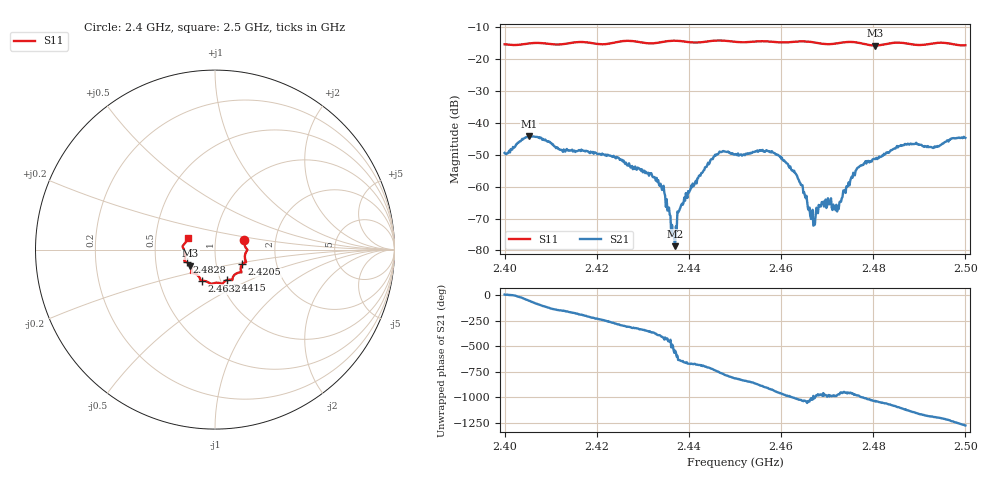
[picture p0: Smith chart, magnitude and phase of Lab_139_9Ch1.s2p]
# Hz S RI R 50
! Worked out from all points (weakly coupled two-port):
!   601 points, 2.4 GHz to 2.5 GHz, reference 50 ohm
!   highest |S21| = -44.20 dB at 2.4053 GHz (marker M1); lowest = -78.7 dB at 2.437 GHz (marker M2)
!   lowest |S11| = -15.7 dB at 2.4803 GHz (marker M3), VSWR 1.39, Z = 37.3 - j6.85 ohm
!   |S11| at or under -10 dB: start of sweep to end of sweep
!   S12 and S22 are empty: the file has one direction only
!   S11 on the Smith chart (normalised r, x): 2.4 GHz: 1.38, +0.15; 2.4205 GHz: 1.34, -0.23; 2.4415 GHz: 1.07, -0.38; 2.4632 GHz: 0.82, -0.29; 2.4828 GHz: 0.72, -0.10; 2.5 GHz: 0.73, +0.10
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2.4e9  0.1637 0.0517  0.00336 0.000436  0 0  0 0
2.405333e9  0.1771 0.00291  0.00365 -0.00497  0 0  0 0
2.416667e9  0.1728 -0.07  -0.00376 0.000683  0 0  0 0
2.4205e9  0.152 -0.0817  -0.00187 0.00269  0 0  0 0
2.433333e9  0.1005 -0.1514  0.00109 -0.000661  0 0  0 0
2.434667e9  0.0976 -0.1618  0.00022 -0.000771  0 0  0 0
2.4365e9  0.097 -0.1692  -0.000118 -0.000129  0 0  0 0
2.437e9  0.0964 -0.1697  -0.000116 4.68e-06  0 0  0 0
2.438e9  0.0936 -0.1692  5.01e-05 0.00044  0 0  0 0
2.4415e9  0.0655 -0.1706  0.000937 0.000813  0 0  0 0
2.446167e9  0.0413 -0.1927  0.00287 -0.00142  0 0  0 0
2.45e9  0.0245 -0.1863  -0.00022 -0.00317  0 0  0 0
2.458167e9  -0.0327 -0.1852  -0.00305 0.00167  0 0  0 0
2.463167e9  -0.0731 -0.1738  0.000654 0.00147  0 0  0 0
2.466667e9  -0.082 -0.1672  0.000185 0.000252  0 0  0 0
2.468667e9  -0.0887 -0.1521  -9.11e-05 0.000482  0 0  0 0
2.472e9  -0.1184 -0.1314  -1.9e-05 0.00052  0 0  0 0
2.476667e9  -0.1325 -0.1247  -0.000265 0.00198  0 0  0 0
2.480333e9  -0.1379 -0.0892  0.00208 0.00174  0 0  0 0
2.482833e9  -0.1588 -0.0701  0.00324 0.00114  0 0  0 0
2.483333e9  -0.1625 -0.068  0.00334 0.000585  0 0  0 0
2.5e9  -0.1527 0.0646  -0.00558 0.00171  0 0  0 0
